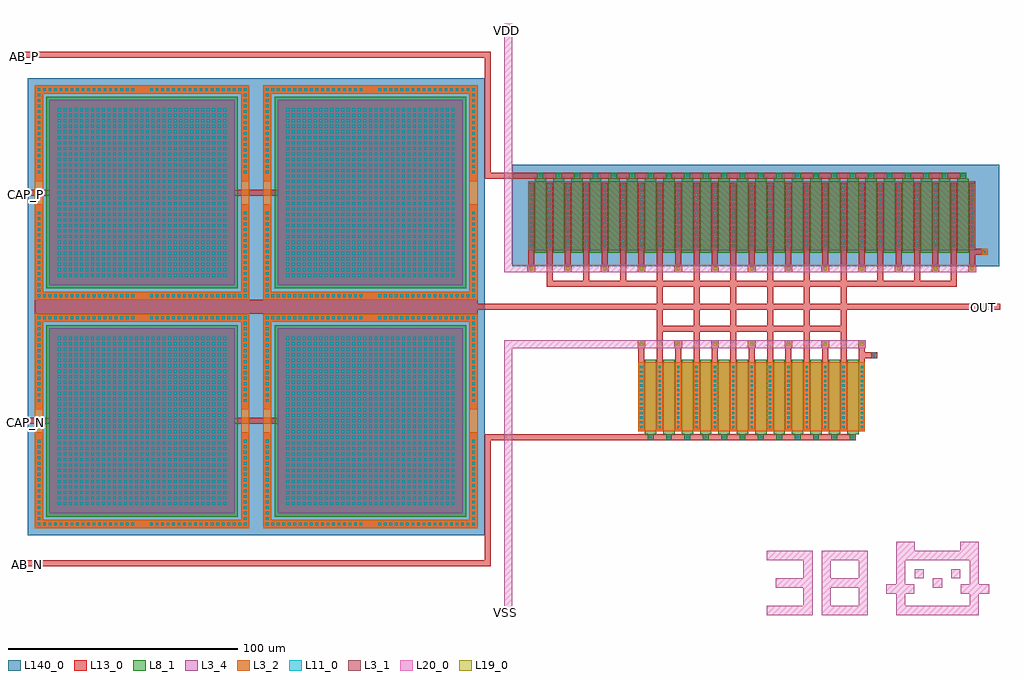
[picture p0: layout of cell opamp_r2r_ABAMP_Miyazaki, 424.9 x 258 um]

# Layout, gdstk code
from math import pi, radians
import gdstk
lib = gdstk.Library(unit=1e-6, precision=1e-07)
def R(c, l, rs):  # rectangles x0, y0, x1, y1
    for r in rs: c.add(gdstk.rectangle(r[:2], r[2:], *l))
def A(c, l, x, y, w, h, nx, ny, dx, dy):  # array of equal rectangles
    R(c, l, [(x+i*dx, y+j*dy, x+i*dx+w, y+j*dy+h) for i in range(nx) for j in range(ny)])
def P(c, l, *ps):  # polygons
    for p in ps: c.add(gdstk.Polygon(p, *l))
L3_1 = (3, 1)
L3_2 = (3, 2)
L3_4 = (3, 4)
L8_1 = (8, 1)
L11_0 = (11, 0)
L13_0 = (13, 0)
L19_0 = (19, 0)
L20_0 = (20, 0)
L140_0 = (140, 0)

fet_p = lib.new_cell('fet_p')
R(fet_p, L3_1, [(-97.3,-15,97.3,15)])
A(fet_p, L11_0, -96.5, -13.5, 1, 1, 25, 14, 8, 2)
A(fet_p, L13_0, -97.3, -14.3, 2.6, 28.6, 25, 1, 8, 0)
fet_p.add(gdstk.FlexPath([(4,-16.2),(4,16.2)], 5, ends="flush", simple_path=True, layer=8, datatype=1))  # L8_1
fet_p.add(gdstk.FlexPath([(-4,-16.2),(-4,16.2)], 5, ends="flush", simple_path=True, layer=8, datatype=1))  # L8_1
fet_p.add(gdstk.FlexPath([(12,-16.2),(12,16.2)], 5, ends="flush", simple_path=True, layer=8, datatype=1))  # L8_1
fet_p.add(gdstk.FlexPath([(-12,-16.2),(-12,16.2)], 5, ends="flush", simple_path=True, layer=8, datatype=1))  # L8_1
fet_p.add(gdstk.FlexPath([(20,-16.2),(20,16.2)], 5, ends="flush", simple_path=True, layer=8, datatype=1))  # L8_1
fet_p.add(gdstk.FlexPath([(-20,-16.2),(-20,16.2)], 5, ends="flush", simple_path=True, layer=8, datatype=1))  # L8_1
fet_p.add(gdstk.FlexPath([(28,-16.2),(28,16.2)], 5, ends="flush", simple_path=True, layer=8, datatype=1))  # L8_1
fet_p.add(gdstk.FlexPath([(-28,-16.2),(-28,16.2)], 5, ends="flush", simple_path=True, layer=8, datatype=1))  # L8_1
fet_p.add(gdstk.FlexPath([(36,-16.2),(36,16.2)], 5, ends="flush", simple_path=True, layer=8, datatype=1))  # L8_1
fet_p.add(gdstk.FlexPath([(-36,-16.2),(-36,16.2)], 5, ends="flush", simple_path=True, layer=8, datatype=1))  # L8_1
fet_p.add(gdstk.FlexPath([(44,-16.2),(44,16.2)], 5, ends="flush", simple_path=True, layer=8, datatype=1))  # L8_1
fet_p.add(gdstk.FlexPath([(-44,-16.2),(-44,16.2)], 5, ends="flush", simple_path=True, layer=8, datatype=1))  # L8_1
fet_p.add(gdstk.FlexPath([(52,-16.2),(52,16.2)], 5, ends="flush", simple_path=True, layer=8, datatype=1))  # L8_1
fet_p.add(gdstk.FlexPath([(-52,-16.2),(-52,16.2)], 5, ends="flush", simple_path=True, layer=8, datatype=1))  # L8_1
fet_p.add(gdstk.FlexPath([(60,-16.2),(60,16.2)], 5, ends="flush", simple_path=True, layer=8, datatype=1))  # L8_1
fet_p.add(gdstk.FlexPath([(-60,-16.2),(-60,16.2)], 5, ends="flush", simple_path=True, layer=8, datatype=1))  # L8_1
fet_p.add(gdstk.FlexPath([(68,-16.2),(68,16.2)], 5, ends="flush", simple_path=True, layer=8, datatype=1))  # L8_1
fet_p.add(gdstk.FlexPath([(-68,-16.2),(-68,16.2)], 5, ends="flush", simple_path=True, layer=8, datatype=1))  # L8_1
fet_p.add(gdstk.FlexPath([(76,-16.2),(76,16.2)], 5, ends="flush", simple_path=True, layer=8, datatype=1))  # L8_1
fet_p.add(gdstk.FlexPath([(-76,-16.2),(-76,16.2)], 5, ends="flush", simple_path=True, layer=8, datatype=1))  # L8_1
fet_p.add(gdstk.FlexPath([(84,-16.2),(84,16.2)], 5, ends="flush", simple_path=True, layer=8, datatype=1))  # L8_1
fet_p.add(gdstk.FlexPath([(-84,-16.2),(-84,16.2)], 5, ends="flush", simple_path=True, layer=8, datatype=1))  # L8_1
fet_p.add(gdstk.FlexPath([(92,-16.2),(92,16.2)], 5, ends="flush", simple_path=True, layer=8, datatype=1))  # L8_1
fet_p.add(gdstk.FlexPath([(-92,-16.2),(-92,16.2)], 5, ends="flush", simple_path=True, layer=8, datatype=1))  # L8_1

fet_n = lib.new_cell('fet_n')
R(fet_n, L3_2, [(-49.3,-15,49.3,15)])
A(fet_n, L11_0, -48.5, -13.5, 1, 1, 13, 14, 8, 2)
A(fet_n, L13_0, -49.3, -14.3, 2.6, 28.6, 13, 1, 8, 0)
fet_n.add(gdstk.FlexPath([(4,-16.2),(4,16.2)], 5, ends="flush", simple_path=True, layer=8, datatype=1))  # L8_1
fet_n.add(gdstk.FlexPath([(-4,-16.2),(-4,16.2)], 5, ends="flush", simple_path=True, layer=8, datatype=1))  # L8_1
fet_n.add(gdstk.FlexPath([(12,-16.2),(12,16.2)], 5, ends="flush", simple_path=True, layer=8, datatype=1))  # L8_1
fet_n.add(gdstk.FlexPath([(-12,-16.2),(-12,16.2)], 5, ends="flush", simple_path=True, layer=8, datatype=1))  # L8_1
fet_n.add(gdstk.FlexPath([(20,-16.2),(20,16.2)], 5, ends="flush", simple_path=True, layer=8, datatype=1))  # L8_1
fet_n.add(gdstk.FlexPath([(-20,-16.2),(-20,16.2)], 5, ends="flush", simple_path=True, layer=8, datatype=1))  # L8_1
fet_n.add(gdstk.FlexPath([(28,-16.2),(28,16.2)], 5, ends="flush", simple_path=True, layer=8, datatype=1))  # L8_1
fet_n.add(gdstk.FlexPath([(-28,-16.2),(-28,16.2)], 5, ends="flush", simple_path=True, layer=8, datatype=1))  # L8_1
fet_n.add(gdstk.FlexPath([(36,-16.2),(36,16.2)], 5, ends="flush", simple_path=True, layer=8, datatype=1))  # L8_1
fet_n.add(gdstk.FlexPath([(-36,-16.2),(-36,16.2)], 5, ends="flush", simple_path=True, layer=8, datatype=1))  # L8_1
fet_n.add(gdstk.FlexPath([(44,-16.2),(44,16.2)], 5, ends="flush", simple_path=True, layer=8, datatype=1))  # L8_1
fet_n.add(gdstk.FlexPath([(-44,-16.2),(-44,16.2)], 5, ends="flush", simple_path=True, layer=8, datatype=1))  # L8_1

moscap = lib.new_cell('moscap')
P(moscap, L3_2, [(-46.7,-46.7),(-46.7,43.1),(-43.1,43.1),(-43.1,-43.1),(43.1,-43.1),(43.1,43.1),(-46.7,43.1),(-46.7,46.7),(46.7,46.7),(46.7,-46.7)])
R(moscap, L3_4, [(-40.3,-40.3,40.3,40.3)])
R(moscap, L8_1, [(-41.7,-41.7,41.7,41.7)])
A(moscap, L11_0, -45.5, -45.5, 1.2, 1.2, 1, 18, 0, 2.4)
A(moscap, L11_0, -45.5, -45.5, 1.2, 1.2, 16, 2, 2.4, 89.8)
A(moscap, L11_0, 8.3, -45.5, 1.2, 1.2, 16, 2, 2.4, 89.8)
A(moscap, L11_0, 44.3, -45.5, 1.2, 1.2, 1, 18, 0, 2.4)
A(moscap, L11_0, -36.6, -36.6, 1.2, 1.2, 31, 31, 2.4, 2.4)
A(moscap, L11_0, -45.5, 3.5, 1.2, 1.2, 1, 18, 0, 2.4)
A(moscap, L11_0, 44.3, 3.5, 1.2, 1.2, 1, 18, 0, 2.4)
R(moscap, L13_0, [(-40.3,-40.3,40.3,40.3)])
P(moscap, L13_0, [(-46.7,-46.7),(-46.7,46.7),(-5,46.7),(-5,43.1),(-43.1,43.1),(-43.1,-43.1),(-5,-43.1),(-5,-46.7)],
  [(5,-46.7),(5,-43.1),(43.1,-43.1),(43.1,43.1),(5,43.1),(5,46.7),(46.7,46.7),(46.7,-46.7)])
R(moscap, L140_0, [(-49.7,-49.7,49.7,49.7)])

cont_g = lib.new_cell('cont_g')
R(cont_g, L8_1, [(-1.3,-1.3,1.3,1.3)])
R(cont_g, L11_0, [(-0.5,-0.5,0.5,0.5)])
R(cont_g, L13_0, [(-1.3,-1.3,1.3,1.3)])

via_1 = lib.new_cell('via_1')
R(via_1, L13_0, [(-1.7,-1.7,1.7,1.7)])
R(via_1, L19_0, [(-0.7,-0.7,0.7,0.7)])
R(via_1, L20_0, [(-1.7,-1.7,1.7,1.7)])

cont_p = lib.new_cell('cont_p')
R(cont_p, L3_1, [(-1.3,-1.3,1.3,1.3)])
R(cont_p, L11_0, [(-0.5,-0.5,0.5,0.5)])
R(cont_p, L13_0, [(-1.3,-1.3,1.3,1.3)])

cont_n = lib.new_cell('cont_n')
R(cont_n, L3_2, [(-1.3,-1.3,1.3,1.3)])
R(cont_n, L11_0, [(-0.5,-0.5,0.5,0.5)])
R(cont_n, L13_0, [(-1.3,-1.3,1.3,1.3)])

opamp_r2r_abamp_miyazaki = lib.new_cell('opamp_r2r_ABAMP_Miyazaki')
R(opamp_r2r_abamp_miyazaki, L13_0, [(-255.7,-18,-62.9,-12)])
A(opamp_r2r_abamp_miyazaki, L20_0, 86.9, -149.3, 20, 4, 1, 3, 0, 12)
A(opamp_r2r_abamp_miyazaki, L20_0, 119.3, -137.3, 4, 4, 3, 1, 16, 0)
R(opamp_r2r_abamp_miyazaki, L20_0, [(62.9,-149.3,82.9,-145.3), (119.3,-149.3,155.3,-145.3), (78.9,-145.3,82.9,-141.3), (86.9,-145.3,90.9,-141.3), (102.9,-145.3,106.9,-141.3), (119.3,-145.3,123.3,-141.3), (151.3,-145.3,155.3,-141.3), (78.9,-141.3,82.9,-137.3), (86.9,-141.3,90.9,-137.3), (102.9,-141.3,106.9,-137.3), (119.3,-141.3,123.3,-137.3), (151.3,-141.3,155.3,-137.3), (114.9,-140,127.1,-135.9), (147.5,-140,159.8,-135.9), (66.9,-137.3,82.9,-133.3), (78.9,-133.3,82.9,-129.3), (86.9,-133.3,90.9,-129.3), (102.9,-133.3,106.9,-129.3), (119.3,-133.3,123.3,-129.3), (127.3,-133.3,131.3,-129.3), (143.3,-133.3,147.3,-129.3), (151.3,-133.3,155.3,-129.3), (78.9,-129.3,82.9,-125.3), (86.9,-129.3,90.9,-125.3), (102.9,-129.3,106.9,-125.3), (119.3,-129.3,123.3,-125.3), (151.3,-129.3,155.3,-125.3), (62.9,-125.3,82.9,-121.3), (119.3,-125.3,155.3,-121.3), (119.3,-121.3,127.3,-117.3), (147.3,-121.3,155.3,-117.3)])
R(opamp_r2r_abamp_miyazaki, L140_0, [(-47.9,2.6,164.2,46.7)])
opamp_r2r_abamp_miyazaki.add(gdstk.FlexPath([(-31.6,10.3),(-31.6,-3.7)], 2.6, ends="flush", simple_path=True, layer=13, datatype=0))  # L13_0
opamp_r2r_abamp_miyazaki.add(gdstk.FlexPath([(-15.6,10.3),(-15.6,-3.7)], 2.6, ends="flush", simple_path=True, layer=13, datatype=0))  # L13_0
opamp_r2r_abamp_miyazaki.add(gdstk.FlexPath([(0.4,10.3),(0.4,-3.7)], 2.6, ends="flush", simple_path=True, layer=13, datatype=0))  # L13_0
opamp_r2r_abamp_miyazaki.add(gdstk.FlexPath([(16.4,10.3),(16.4,-3.7)], 2.6, ends="flush", simple_path=True, layer=13, datatype=0))  # L13_0
opamp_r2r_abamp_miyazaki.add(gdstk.FlexPath([(32.4,10.3),(32.4,-3.7)], 2.6, ends="flush", simple_path=True, layer=13, datatype=0))  # L13_0
opamp_r2r_abamp_miyazaki.add(gdstk.FlexPath([(48.4,10.3),(48.4,-3.7)], 2.6, ends="flush", simple_path=True, layer=13, datatype=0))  # L13_0
opamp_r2r_abamp_miyazaki.add(gdstk.FlexPath([(64.4,10.3),(64.4,-3.7)], 2.6, ends="flush", simple_path=True, layer=13, datatype=0))  # L13_0
opamp_r2r_abamp_miyazaki.add(gdstk.FlexPath([(80.4,10.3),(80.4,-3.7)], 2.6, ends="flush", simple_path=True, layer=13, datatype=0))  # L13_0
opamp_r2r_abamp_miyazaki.add(gdstk.FlexPath([(96.4,10.3),(96.4,-3.7)], 2.6, ends="flush", simple_path=True, layer=13, datatype=0))  # L13_0
opamp_r2r_abamp_miyazaki.add(gdstk.FlexPath([(112.4,10.3),(112.4,-3.7)], 2.6, ends="flush", simple_path=True, layer=13, datatype=0))  # L13_0
opamp_r2r_abamp_miyazaki.add(gdstk.FlexPath([(128.4,10.3),(128.4,-3.7)], 2.6, ends="flush", simple_path=True, layer=13, datatype=0))  # L13_0
opamp_r2r_abamp_miyazaki.add(gdstk.FlexPath([(144.4,10.3),(144.4,-3.7)], 2.6, ends="flush", simple_path=True, layer=13, datatype=0))  # L13_0
opamp_r2r_abamp_miyazaki.add(gdstk.FlexPath([(145.7,-5),(-32.9,-5)], 2.6, ends="flush", simple_path=True, layer=13, datatype=0))  # L13_0
opamp_r2r_abamp_miyazaki.add(gdstk.FlexPath([(8.4,-33),(8.4,-40)], 2.6, ends="flush", simple_path=True, layer=13, datatype=0))  # L13_0
opamp_r2r_abamp_miyazaki.add(gdstk.FlexPath([(159.2,8.9),(153.7,8.9)], 2.6, ends="flush", simple_path=True, layer=13, datatype=0))  # L13_0
opamp_r2r_abamp_miyazaki.add(gdstk.FlexPath([(-37.4,42.1),(149.7,42.1)], 2.6, ends="flush", simple_path=True, layer=13, datatype=0))  # L13_0
opamp_r2r_abamp_miyazaki.add(gdstk.FlexPath([(16.4,-26),(16.4,-40)], 2.6, ends="flush", simple_path=True, layer=13, datatype=0))  # L13_0
opamp_r2r_abamp_miyazaki.add(gdstk.FlexPath([(16.4,-3.7),(16.4,-26)], 2.6, ends="flush", simple_path=True, layer=13, datatype=0))  # L13_0
opamp_r2r_abamp_miyazaki.add(gdstk.FlexPath([(16.3,-24.7),(96.4,-24.7)], 2.6, ends="flush", simple_path=True, layer=13, datatype=0))  # L13_0
opamp_r2r_abamp_miyazaki.add(gdstk.FlexPath([(12.6,-71.8),(101.7,-71.8)], 2.6, ends="flush", simple_path=True, layer=13, datatype=0))  # L13_0
opamp_r2r_abamp_miyazaki.add(gdstk.FlexPath([(111.1,-36.2),(105.7,-36.2)], 2.6, ends="flush", simple_path=True, layer=13, datatype=0))  # L13_0
opamp_r2r_abamp_miyazaki.add(gdstk.FlexPath([(24.4,-33),(24.4,-40)], 2.6, ends="flush", simple_path=True, layer=13, datatype=0))  # L13_0
opamp_r2r_abamp_miyazaki.add(gdstk.FlexPath([(40.4,-33),(40.4,-40)], 2.6, ends="flush", simple_path=True, layer=13, datatype=0))  # L13_0
opamp_r2r_abamp_miyazaki.add(gdstk.FlexPath([(56.4,-33),(56.4,-40)], 2.6, ends="flush", simple_path=True, layer=13, datatype=0))  # L13_0
opamp_r2r_abamp_miyazaki.add(gdstk.FlexPath([(72.4,-33),(72.4,-40)], 2.6, ends="flush", simple_path=True, layer=13, datatype=0))  # L13_0
opamp_r2r_abamp_miyazaki.add(gdstk.FlexPath([(88.4,-33),(88.4,-40)], 2.6, ends="flush", simple_path=True, layer=13, datatype=0))  # L13_0
opamp_r2r_abamp_miyazaki.add(gdstk.FlexPath([(32.4,-26),(32.4,-40)], 2.6, ends="flush", simple_path=True, layer=13, datatype=0))  # L13_0
opamp_r2r_abamp_miyazaki.add(gdstk.FlexPath([(48.4,-26),(48.4,-40)], 2.6, ends="flush", simple_path=True, layer=13, datatype=0))  # L13_0
opamp_r2r_abamp_miyazaki.add(gdstk.FlexPath([(64.4,-26),(64.4,-40)], 2.6, ends="flush", simple_path=True, layer=13, datatype=0))  # L13_0
opamp_r2r_abamp_miyazaki.add(gdstk.FlexPath([(80.4,-26),(80.4,-40)], 2.6, ends="flush", simple_path=True, layer=13, datatype=0))  # L13_0
opamp_r2r_abamp_miyazaki.add(gdstk.FlexPath([(-23.6,10.3),(-23.6,3.3)], 2.6, ends="flush", simple_path=True, layer=13, datatype=0))  # L13_0
opamp_r2r_abamp_miyazaki.add(gdstk.FlexPath([(-7.6,10.3),(-7.6,3.3)], 2.6, ends="flush", simple_path=True, layer=13, datatype=0))  # L13_0
opamp_r2r_abamp_miyazaki.add(gdstk.FlexPath([(8.4,10.3),(8.4,3.3)], 2.6, ends="flush", simple_path=True, layer=13, datatype=0))  # L13_0
opamp_r2r_abamp_miyazaki.add(gdstk.FlexPath([(24.4,10.3),(24.4,3.3)], 2.6, ends="flush", simple_path=True, layer=13, datatype=0))  # L13_0
opamp_r2r_abamp_miyazaki.add(gdstk.FlexPath([(40.4,10.3),(40.4,3.3)], 2.6, ends="flush", simple_path=True, layer=13, datatype=0))  # L13_0
opamp_r2r_abamp_miyazaki.add(gdstk.FlexPath([(56.4,10.3),(56.4,3.3)], 2.6, ends="flush", simple_path=True, layer=13, datatype=0))  # L13_0
opamp_r2r_abamp_miyazaki.add(gdstk.FlexPath([(72.4,10.3),(72.4,3.3)], 2.6, ends="flush", simple_path=True, layer=13, datatype=0))  # L13_0
opamp_r2r_abamp_miyazaki.add(gdstk.FlexPath([(88.4,10.3),(88.4,3.3)], 2.6, ends="flush", simple_path=True, layer=13, datatype=0))  # L13_0
opamp_r2r_abamp_miyazaki.add(gdstk.FlexPath([(104.4,10.3),(104.4,3.3)], 2.6, ends="flush", simple_path=True, layer=13, datatype=0))  # L13_0
opamp_r2r_abamp_miyazaki.add(gdstk.FlexPath([(120.4,10.3),(120.4,3.3)], 2.6, ends="flush", simple_path=True, layer=13, datatype=0))  # L13_0
opamp_r2r_abamp_miyazaki.add(gdstk.FlexPath([(136.4,10.3),(136.4,3.3)], 2.6, ends="flush", simple_path=True, layer=13, datatype=0))  # L13_0
opamp_r2r_abamp_miyazaki.add(gdstk.FlexPath([(152.4,10.3),(152.4,3.3)], 2.6, ends="flush", simple_path=True, layer=13, datatype=0))  # L13_0
opamp_r2r_abamp_miyazaki.add(gdstk.FlexPath([(96.4,-26),(96.4,-40)], 2.6, ends="flush", simple_path=True, layer=13, datatype=0))  # L13_0
opamp_r2r_abamp_miyazaki.add(gdstk.FlexPath([(32.4,-3.7),(32.4,-26)], 2.6, ends="flush", simple_path=True, layer=13, datatype=0))  # L13_0
opamp_r2r_abamp_miyazaki.add(gdstk.FlexPath([(48.4,-3.7),(48.4,-26)], 2.6, ends="flush", simple_path=True, layer=13, datatype=0))  # L13_0
opamp_r2r_abamp_miyazaki.add(gdstk.FlexPath([(64.4,-3.7),(64.4,-26)], 2.6, ends="flush", simple_path=True, layer=13, datatype=0))  # L13_0
opamp_r2r_abamp_miyazaki.add(gdstk.FlexPath([(80.4,-3.7),(80.4,-26)], 2.6, ends="flush", simple_path=True, layer=13, datatype=0))  # L13_0
opamp_r2r_abamp_miyazaki.add(gdstk.FlexPath([(96.4,-3.7),(96.4,-26)], 2.6, ends="flush", simple_path=True, layer=13, datatype=0))  # L13_0
opamp_r2r_abamp_miyazaki.add(gdstk.FlexPath([(104.4,-33),(104.4,-40)], 2.6, ends="flush", simple_path=True, layer=13, datatype=0))  # L13_0
opamp_r2r_abamp_miyazaki.add(gdstk.FlexPath([(8.1,-15),(164.5,-15)], 2.6, ends="flush", simple_path=True, layer=13, datatype=0))  # L13_0
opamp_r2r_abamp_miyazaki.add(gdstk.FlexPath([(-22.1,42.1),(-58.6,42.1),(-58.6,94.6),(-260.4,94.6)], 2.6, ends="flush", simple_path=True, layer=13, datatype=0))  # L13_0
opamp_r2r_abamp_miyazaki.add(gdstk.FlexPath([(19.9,-71.8),(-58.6,-71.8),(-58.6,-126.7),(-260.4,-126.7)], 2.6, ends="flush", simple_path=True, layer=13, datatype=0))  # L13_0
opamp_r2r_abamp_miyazaki.add(gdstk.FlexPath([(-39.6,10.3),(-39.6,3.3)], 2.6, ends="flush", simple_path=True, layer=13, datatype=0))  # L13_0
opamp_r2r_abamp_miyazaki.add(gdstk.FlexPath([(-69.2,34.7),(-260.4,34.7)], 2.6, ends="flush", simple_path=True, layer=13, datatype=0))  # L13_0
opamp_r2r_abamp_miyazaki.add(gdstk.FlexPath([(-69.2,-64.7),(-260.4,-64.7)], 2.6, ends="flush", simple_path=True, layer=13, datatype=0))  # L13_0
opamp_r2r_abamp_miyazaki.add(gdstk.FlexPath([(24.7,-15),(-64,-15)], 2.6, ends="flush", simple_path=True, layer=13, datatype=0))  # L13_0
opamp_r2r_abamp_miyazaki.add(gdstk.FlexPath([(-41.3,1.6),(154.1,1.6)], 3.4, ends="flush", simple_path=True, layer=20, datatype=0))  # L20_0
opamp_r2r_abamp_miyazaki.add(gdstk.FlexPath([(0,-31.3),(105.2,-31.3)], 3.4, ends="flush", simple_path=True, layer=20, datatype=0))  # L20_0
opamp_r2r_abamp_miyazaki.add(gdstk.FlexPath([(-41.3,1.6),(-49.6,1.6),(-49.6,108.2)], 3.4, ends="flush", simple_path=True, layer=20, datatype=0))  # L20_0
opamp_r2r_abamp_miyazaki.add(gdstk.FlexPath([(0.7,-31.3),(-49.6,-31.3),(-49.6,-149.8)], 3.4, ends="flush", simple_path=True, layer=20, datatype=0))  # L20_0
opamp_r2r_abamp_miyazaki.add(gdstk.Reference(fet_p, (56.4,24.6)))
opamp_r2r_abamp_miyazaki.add(gdstk.Reference(fet_n, (56.4,-54.3)))
opamp_r2r_abamp_miyazaki.add(gdstk.Reference(moscap, (-209,34.7), rotation=pi/2))
opamp_r2r_abamp_miyazaki.add(gdstk.Reference(moscap, (-109.6,34.7), rotation=pi/2))
opamp_r2r_abamp_miyazaki.add(gdstk.Reference(moscap, (-209,-64.7), rotation=pi/2))
opamp_r2r_abamp_miyazaki.add(gdstk.Reference(moscap, (-109.6,-64.7), rotation=pi/2))
opamp_r2r_abamp_miyazaki.add(gdstk.Reference(cont_g, (12.4,-71.8)))
opamp_r2r_abamp_miyazaki.add(gdstk.Reference(cont_g, (20.4,-71.8)))
opamp_r2r_abamp_miyazaki.add(gdstk.Reference(cont_g, (28.4,-71.8)))
opamp_r2r_abamp_miyazaki.add(gdstk.Reference(cont_g, (36.4,-71.8)))
opamp_r2r_abamp_miyazaki.add(gdstk.Reference(cont_g, (44.4,-71.8)))
opamp_r2r_abamp_miyazaki.add(gdstk.Reference(cont_g, (52.4,-71.8)))
opamp_r2r_abamp_miyazaki.add(gdstk.Reference(cont_g, (60.4,-71.8)))
opamp_r2r_abamp_miyazaki.add(gdstk.Reference(cont_g, (68.4,-71.8)))
opamp_r2r_abamp_miyazaki.add(gdstk.Reference(cont_g, (76.4,-71.8)))
opamp_r2r_abamp_miyazaki.add(gdstk.Reference(cont_g, (84.4,-71.8)))
opamp_r2r_abamp_miyazaki.add(gdstk.Reference(cont_g, (92.4,-71.8)))
opamp_r2r_abamp_miyazaki.add(gdstk.Reference(cont_g, (100.4,-71.8)))
opamp_r2r_abamp_miyazaki.add(gdstk.Reference(via_1, (-39.6,1.6)))
opamp_r2r_abamp_miyazaki.add(gdstk.Reference(via_1, (8.4,-31.3)))
opamp_r2r_abamp_miyazaki.add(gdstk.Reference(cont_p, (109.8,-36.2)))
opamp_r2r_abamp_miyazaki.add(gdstk.Reference(cont_n, (157.9,8.9)))
opamp_r2r_abamp_miyazaki.add(gdstk.Reference(cont_g, (-35.6,42.1)))
opamp_r2r_abamp_miyazaki.add(gdstk.Reference(cont_g, (-27.6,42.1)))
opamp_r2r_abamp_miyazaki.add(gdstk.Reference(cont_g, (-19.6,42.1)))
opamp_r2r_abamp_miyazaki.add(gdstk.Reference(cont_g, (-11.6,42.1)))
opamp_r2r_abamp_miyazaki.add(gdstk.Reference(cont_g, (-3.6,42.1)))
opamp_r2r_abamp_miyazaki.add(gdstk.Reference(cont_g, (4.4,42.1)))
opamp_r2r_abamp_miyazaki.add(gdstk.Reference(cont_g, (12.4,42.1)))
opamp_r2r_abamp_miyazaki.add(gdstk.Reference(cont_g, (20.4,42.1)))
opamp_r2r_abamp_miyazaki.add(gdstk.Reference(cont_g, (28.4,42.1)))
opamp_r2r_abamp_miyazaki.add(gdstk.Reference(cont_g, (36.4,42.1)))
opamp_r2r_abamp_miyazaki.add(gdstk.Reference(cont_g, (44.4,42.1)))
opamp_r2r_abamp_miyazaki.add(gdstk.Reference(cont_g, (52.4,42.1)))
opamp_r2r_abamp_miyazaki.add(gdstk.Reference(cont_g, (60.4,42.1)))
opamp_r2r_abamp_miyazaki.add(gdstk.Reference(cont_g, (68.4,42.1)))
opamp_r2r_abamp_miyazaki.add(gdstk.Reference(cont_g, (76.4,42.1)))
opamp_r2r_abamp_miyazaki.add(gdstk.Reference(cont_g, (84.4,42.1)))
opamp_r2r_abamp_miyazaki.add(gdstk.Reference(cont_g, (92.4,42.1)))
opamp_r2r_abamp_miyazaki.add(gdstk.Reference(cont_g, (100.4,42.1)))
opamp_r2r_abamp_miyazaki.add(gdstk.Reference(cont_g, (108.4,42.1)))
opamp_r2r_abamp_miyazaki.add(gdstk.Reference(cont_g, (116.4,42.1)))
opamp_r2r_abamp_miyazaki.add(gdstk.Reference(cont_g, (124.4,42.1)))
opamp_r2r_abamp_miyazaki.add(gdstk.Reference(cont_g, (132.4,42.1)))
opamp_r2r_abamp_miyazaki.add(gdstk.Reference(cont_g, (140.4,42.1)))
opamp_r2r_abamp_miyazaki.add(gdstk.Reference(cont_g, (148.4,42.1)))
opamp_r2r_abamp_miyazaki.add(gdstk.Reference(via_1, (-23.6,1.6)))
opamp_r2r_abamp_miyazaki.add(gdstk.Reference(via_1, (-7.6,1.6)))
opamp_r2r_abamp_miyazaki.add(gdstk.Reference(via_1, (8.4,1.6)))
opamp_r2r_abamp_miyazaki.add(gdstk.Reference(via_1, (24.4,1.6)))
opamp_r2r_abamp_miyazaki.add(gdstk.Reference(via_1, (40.4,1.6)))
opamp_r2r_abamp_miyazaki.add(gdstk.Reference(via_1, (56.4,1.6)))
opamp_r2r_abamp_miyazaki.add(gdstk.Reference(via_1, (72.4,1.6)))
opamp_r2r_abamp_miyazaki.add(gdstk.Reference(via_1, (88.4,1.6)))
opamp_r2r_abamp_miyazaki.add(gdstk.Reference(via_1, (104.4,1.6)))
opamp_r2r_abamp_miyazaki.add(gdstk.Reference(via_1, (120.4,1.6)))
opamp_r2r_abamp_miyazaki.add(gdstk.Reference(via_1, (136.4,1.6)))
opamp_r2r_abamp_miyazaki.add(gdstk.Reference(via_1, (152.4,1.6)))
opamp_r2r_abamp_miyazaki.add(gdstk.Reference(via_1, (24.4,-31.3)))
opamp_r2r_abamp_miyazaki.add(gdstk.Reference(via_1, (40.4,-31.3)))
opamp_r2r_abamp_miyazaki.add(gdstk.Reference(via_1, (56.4,-31.3)))
opamp_r2r_abamp_miyazaki.add(gdstk.Reference(via_1, (72.4,-31.3)))
opamp_r2r_abamp_miyazaki.add(gdstk.Reference(via_1, (88.4,-31.3)))
opamp_r2r_abamp_miyazaki.add(gdstk.Reference(via_1, (104.4,-31.3)))
opamp_r2r_abamp_miyazaki.add(gdstk.Label('OUT', (157.4,-15.2), layer=48, texttype=0))
opamp_r2r_abamp_miyazaki.add(gdstk.Label('AB_P', (-260,93.8), layer=48, texttype=0))
opamp_r2r_abamp_miyazaki.add(gdstk.Label('CAP_P', (-259.7,34), layer=48, texttype=0))
opamp_r2r_abamp_miyazaki.add(gdstk.Label('CAP_N', (-259.8,-65.5), layer=48, texttype=0))
opamp_r2r_abamp_miyazaki.add(gdstk.Label('AB_N', (-258.9,-127.1), layer=48, texttype=0))
opamp_r2r_abamp_miyazaki.add(gdstk.Label('VSS', (-50.7,-148.2), layer=49, texttype=0))
opamp_r2r_abamp_miyazaki.add(gdstk.Label('VDD', (-50.5,105.2), layer=49, texttype=0))

lib.write_gds('opamp_r2r_ABAMP_Miyazaki.gds')
